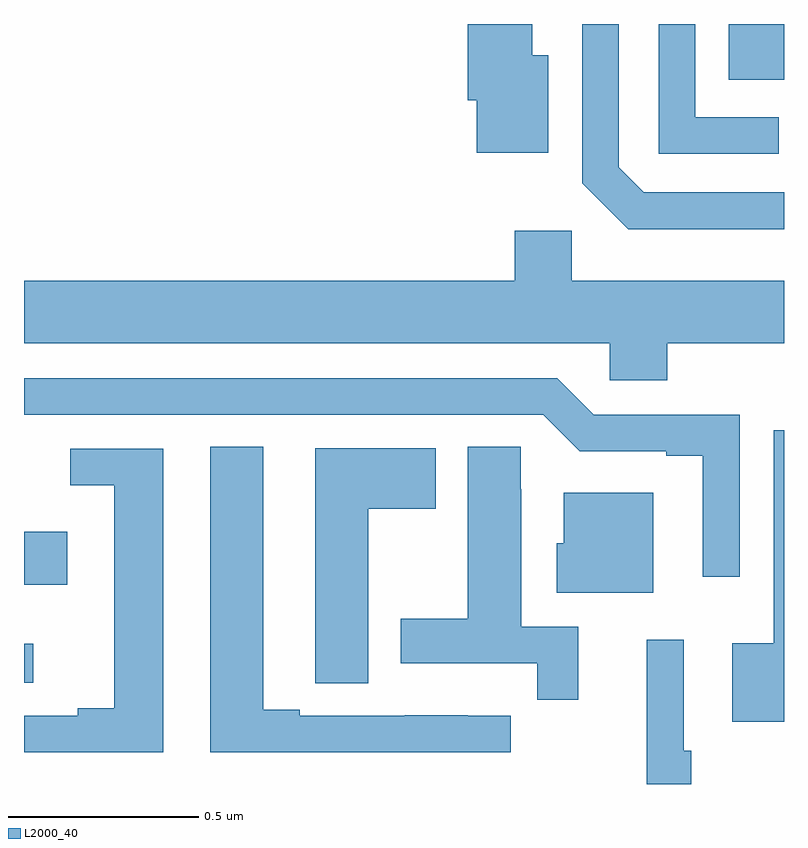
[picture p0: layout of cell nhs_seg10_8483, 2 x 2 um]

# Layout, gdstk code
import gdstk
lib = gdstk.Library(unit=1e-6, precision=1e-09)
def R(c, l, rs):  # rectangles x0, y0, x1, y1
    for r in rs: c.add(gdstk.rectangle(r[:2], r[2:], *l))
def P(c, l, *ps):  # polygons
    for p in ps: c.add(gdstk.Polygon(p, *l))
L2000_40 = (2000, 40)

nhs_seg10_8483 = lib.new_cell('nhs_seg10_8483')
R(nhs_seg10_8483, L2000_40, [(217,1288.767,217.024,1288.869), (217,1289.024,217.114,1289.164), (218.855,1290.353,219,1290.5)])
P(nhs_seg10_8483, L2000_40, [(218.986,1290.255),(218.766,1290.255),(218.766,1290.5),(218.67,1290.5),(218.67,1290.159),(218.986,1290.159)],
  [(218.38,1290.418),(218.338,1290.418),(218.338,1290.5),(218.168,1290.5),(218.168,1290.3),(218.192,1290.3),(218.192,1290.161),(218.38,1290.161)],
  [(219,1290.057),(218.631,1290.057),(218.565,1290.123),(218.565,1290.5),(218.469,1290.5),(218.469,1290.081),(218.59,1289.96),(219,1289.96)],
  [(218.693,1289.66),(219,1289.66),(219,1289.824),(218.442,1289.824),(218.442,1289.956),(218.291,1289.956),(218.291,1289.824),(217,1289.824),(217,1289.66),(218.541,1289.66),(218.541,1289.562),(218.693,1289.562)],
  [(218.883,1289.472),(218.499,1289.472),(218.403,1289.568),(217,1289.568),(217,1289.472),(218.367,1289.472),(218.463,1289.376),(218.69,1289.376),(218.69,1289.364),(218.786,1289.364),(218.786,1289.046),(218.883,1289.046)],
  [(219,1289.431),(218.973,1289.431),(218.973,1288.87),(218.864,1288.87),(218.864,1288.664),(219,1288.664)],
  [(218.281,1288.68),(218.168,1288.68),(218.168,1288.681),(218.002,1288.681),(218.002,1288.68),(217.726,1288.68),(217.726,1288.695),(217.63,1288.695),(217.63,1289.387),(217.49,1289.387),(217.49,1288.584),(218.281,1288.584)],
  [(218.459,1288.914),(218.308,1288.914),(218.308,1289.276),(218.307,1289.276),(218.307,1289.387),(218.168,1289.387),(218.168,1288.935),(217.991,1288.935),(217.991,1288.818),(218.35,1288.818),(218.35,1288.722),(218.459,1288.722)],
  [(217.906,1289.224),(218.083,1289.224),(218.083,1289.383),(217.766,1289.383),(217.766,1288.873),(217.767,1288.873),(217.767,1288.765),(217.906,1288.765)],
  [(217.366,1289.382),(217.122,1289.382),(217.122,1289.286),(217.238,1289.286),(217.238,1288.7),(217.142,1288.7),(217.142,1288.68),(217,1288.68),(217,1288.584),(217.366,1288.584)],
  [(218.656,1289.266),(218.42,1289.266),(218.42,1289.133),(218.402,1289.133),(218.402,1289.003),(218.656,1289.003)],
  [(218.756,1288.588),(218.736,1288.588),(218.736,1288.879),(218.639,1288.879),(218.639,1288.5),(218.756,1288.5)])

lib.write_gds('nhs_seg10_8483.gds')
